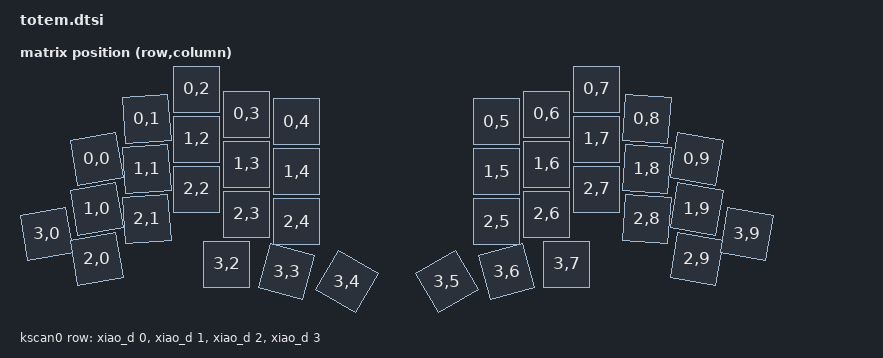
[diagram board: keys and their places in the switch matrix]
/*
 * Copyright (c) 2022 The ZMK Contributors
 *
 * SPDX-License-Identifier: MIT
 */

#include <dt-bindings/zmk/matrix_transform.h>
#include <physical_layouts.dtsi>

/ {
    chosen {
        zmk,kscan = &kscan0;
        zmk,physical-layout = &physical_layout0;
    };

    wired_split: wired_split {
        compatible = "zmk,wired-split";
        device = <&xiao_serial>;
        // half-duplex;
    };

    default_transform: keymap_transform_0 {
        compatible = "zmk,matrix-transform";
        columns = <10>;
        rows = <4>;
//             | SW01  | SW02  | SW03  | SW04  | SW05  |  | SW05  | SW04  | SW03  | SW02  | SW01  |
//             | SW06  | SW07  | SW08  | SW09  | SW10  |  | SW10  | SW09  | SW08  | SW07  | SW06  | 
//      | SW16 | SW11  | SW12  | SW13  | SW14  | SW15  |  | SW15  | SW14  | SW13  | SW12  | SW11  | SW16  |
//                             | SW17  | SW18  | SW19  |  | SW19  | SW18  | SW17  | 
        map = <
                RC(0,0) RC(0,1) RC(0,2) RC(0,3) RC(0,4)    RC(0,5) RC(0,6) RC(0,7) RC(0,8) RC(0,9)
                RC(1,0) RC(1,1) RC(1,2) RC(1,3) RC(1,4)    RC(1,5) RC(1,6) RC(1,7) RC(1,8) RC(1,9)
        RC(3,0) RC(2,0) RC(2,1) RC(2,2) RC(2,3) RC(2,4)    RC(2,5) RC(2,6) RC(2,7) RC(2,8) RC(2,9) RC(3,9)
                                RC(3,2) RC(3,3) RC(3,4)    RC(3,5) RC(3,6) RC(3,7)         
        >;
    };

    /*
     * Physical layout for ZMK Studio support.
     * TOTEM 38-key layout with columnar stagger.
     * Coordinates in centi-units (100 = 1 key width).
     *
     *         0    1    2    3    4         5    6    7    8    9       (row 0)
     *        10   11   12   13   14       15   16   17   18   19       (row 1)
     *  20    21   22   23   24   25       26   27   28   29   30   31  (row 2)
     *                  32   33   34       35   36   37                  (row 3)
     */
    physical_layout0: physical_layout_0 {
        compatible = "zmk,physical-layout";
        display-name = "TOTEM";
        transform = <&default_transform>;
        kscan = <&kscan0>;

        keys  //                     w   h    x    y     rot    rx    ry
            // Row 0 left (pinky -10°, ring -4°, mid/idx/inner 0°)
            = <&key_physical_attrs 100 100  100  140  (-1000)   150   190>
            , <&key_physical_attrs 100 100  200   60   (-400)   250   110>
            , <&key_physical_attrs 100 100  300    0       0     0     0>
            , <&key_physical_attrs 100 100  400   50       0     0     0>
            , <&key_physical_attrs 100 100  500   65       0     0     0>
            // Row 0 right (inner/idx/mid 0°, ring +4°, pinky +10°)
            , <&key_physical_attrs 100 100  900   65       0     0     0>
            , <&key_physical_attrs 100 100 1000   50       0     0     0>
            , <&key_physical_attrs 100 100 1100    0       0     0     0>
            , <&key_physical_attrs 100 100 1200   60     400  1250   110>
            , <&key_physical_attrs 100 100 1300  140    1000  1350   190>
            // Row 1 left
            , <&key_physical_attrs 100 100  100  240  (-1000)   150   290>
            , <&key_physical_attrs 100 100  200  160   (-400)   250   210>
            , <&key_physical_attrs 100 100  300  100       0     0     0>
            , <&key_physical_attrs 100 100  400  150       0     0     0>
            , <&key_physical_attrs 100 100  500  165       0     0     0>
            // Row 1 right
            , <&key_physical_attrs 100 100  900  165       0     0     0>
            , <&key_physical_attrs 100 100 1000  150       0     0     0>
            , <&key_physical_attrs 100 100 1100  100       0     0     0>
            , <&key_physical_attrs 100 100 1200  160     400  1250   210>
            , <&key_physical_attrs 100 100 1300  240    1000  1350   290>
            // Row 2 left (LX0 -10°, then pinky -10°, ring -4°, rest 0°)
            , <&key_physical_attrs 100 100    0  290  (-1000)    50   340>
            , <&key_physical_attrs 100 100  100  340  (-1000)   150   390>
            , <&key_physical_attrs 100 100  200  260   (-400)   250   310>
            , <&key_physical_attrs 100 100  300  200       0     0     0>
            , <&key_physical_attrs 100 100  400  250       0     0     0>
            , <&key_physical_attrs 100 100  500  265       0     0     0>
            // Row 2 right (0°, 0°, 0°, ring +4°, pinky +10°, RX0 +10°)
            , <&key_physical_attrs 100 100  900  265       0     0     0>
            , <&key_physical_attrs 100 100 1000  250       0     0     0>
            , <&key_physical_attrs 100 100 1100  200       0     0     0>
            , <&key_physical_attrs 100 100 1200  260     400  1250   310>
            , <&key_physical_attrs 100 100 1300  340    1000  1350   390>
            , <&key_physical_attrs 100 100 1400  290    1000  1450   340>
            // Row 3 left (thumb cluster: outer 0°, +15°, +30° fanning out)
            , <&key_physical_attrs 100 100  360  350       0     0     0>
            , <&key_physical_attrs 100 100  480  365    1500   530   415>
            , <&key_physical_attrs 100 100  600  385    3000   650   435>
            // Row 3 right (thumb cluster: -30°, -15°, outer 0° fanning out)
            , <&key_physical_attrs 100 100  800  385 (-3000)   850   435>
            , <&key_physical_attrs 100 100  920  365 (-1500)   970   415>
            , <&key_physical_attrs 100 100 1040  350       0     0     0>
            ;
    };


    kscan0: kscan_0 {
        compatible = "zmk,kscan-gpio-matrix";
        
        diode-direction = "col2row"; 
        row-gpios
            = <&xiao_d 0 (GPIO_ACTIVE_HIGH | GPIO_PULL_DOWN)>
            , <&xiao_d 1 (GPIO_ACTIVE_HIGH | GPIO_PULL_DOWN)>
            , <&xiao_d 2 (GPIO_ACTIVE_HIGH | GPIO_PULL_DOWN)>
            , <&xiao_d 3 (GPIO_ACTIVE_HIGH | GPIO_PULL_DOWN)>
            ;
    };
};
